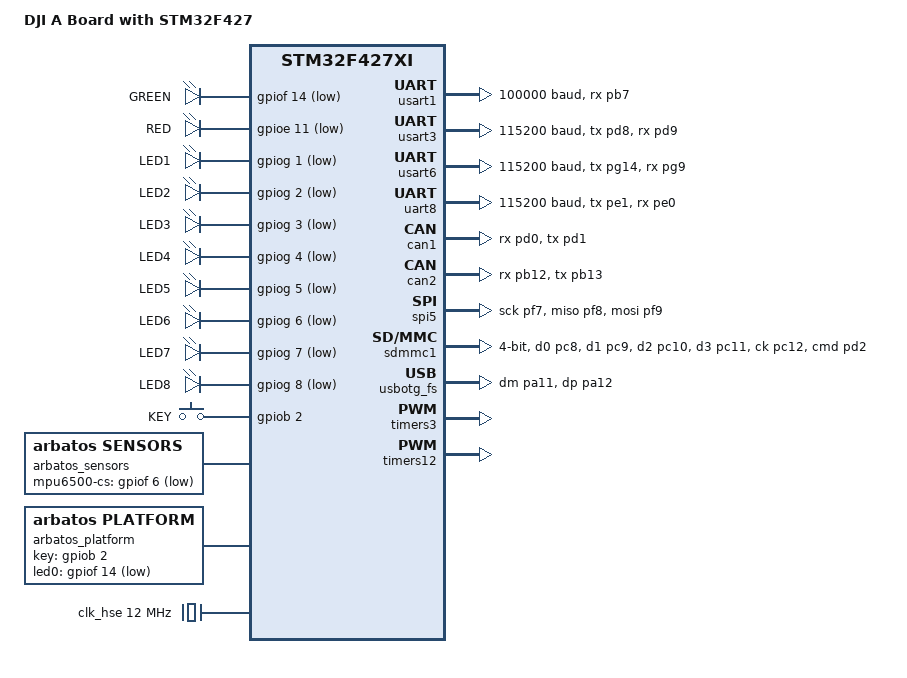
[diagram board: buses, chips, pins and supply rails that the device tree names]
/* SPDX-License-Identifier: Apache-2.0 */

/dts-v1/;
#include <st/f4/stm32f427Xi.dtsi>
#include "dji_a_f427-pinctrl.dtsi"
#include <zephyr/dt-bindings/input/input-event-codes.h>
#include <zephyr/dt-bindings/pwm/pwm.h>

/ {
	model = "DJI A Board with STM32F427";
	compatible = "arbatos,dji-a-f427";

	chosen {
		/* DBUS 只有 PB7 接收线；控制台由具体应用选择。 */
		zephyr,sram = &sram0;
		zephyr,flash = &flash0;
		zephyr,dtcm = &ccm0;
		zephyr,canbus = &can1;
	};

	aliases {
		sw0 = &user_key;
		led0 = &led_green;
		led1 = &led_red;
		can-primary = &can1;
		can-secondary = &can2;
		uart-rc = &usart1;
		uart-aux = &uart8;
		uart-referee = &usart6;
		sd-disk = &sdmmc1;
	};

	leds {
		compatible = "gpio-leds";
		led_green: green { gpios = <&gpiof 14 GPIO_ACTIVE_LOW>; label = "GREEN"; };
		led_red: red { gpios = <&gpioe 11 GPIO_ACTIVE_LOW>; label = "RED"; };
		led_1: led-1 { gpios = <&gpiog 1 GPIO_ACTIVE_LOW>; label = "LED1"; };
		led_2: led-2 { gpios = <&gpiog 2 GPIO_ACTIVE_LOW>; label = "LED2"; };
		led_3: led-3 { gpios = <&gpiog 3 GPIO_ACTIVE_LOW>; label = "LED3"; };
		led_4: led-4 { gpios = <&gpiog 4 GPIO_ACTIVE_LOW>; label = "LED4"; };
		led_5: led-5 { gpios = <&gpiog 5 GPIO_ACTIVE_LOW>; label = "LED5"; };
		led_6: led-6 { gpios = <&gpiog 6 GPIO_ACTIVE_LOW>; label = "LED6"; };
		led_7: led-7 { gpios = <&gpiog 7 GPIO_ACTIVE_LOW>; label = "LED7"; };
		led_8: led-8 { gpios = <&gpiog 8 GPIO_ACTIVE_LOW>; label = "LED8"; };
	};

	keys {
		compatible = "gpio-keys";
		user_key: key_0 {
			label = "KEY";
			gpios = <&gpiob 2 (GPIO_ACTIVE_HIGH | GPIO_PULL_DOWN)>;
			zephyr,code = <INPUT_KEY_0>;
		};
	};

	arbatos_sensors {
		compatible = "arbatos,sensors";
		mpu6500-spi = <&spi5>;
		mpu6500-cs-gpios = <&gpiof 6 GPIO_ACTIVE_LOW>;
		mpu6500-spi-hz = <8000000>;
		imu-heater-pwms = <&pwm3 2 PWM_USEC(1000) PWM_POLARITY_NORMAL>;
		imu-heater-period-cycles = <50>;
	};

	arbatos_platform: arbatos-platform {
		compatible = "arbatos,platform";
		key-gpios = <&gpiob 2 (GPIO_ACTIVE_HIGH | GPIO_PULL_DOWN)>;
		led0-gpios = <&gpiof 14 GPIO_ACTIVE_LOW>;
		buzzer-pwms = <&pwm12 1 PWM_USEC(100) PWM_POLARITY_NORMAL>;
	};
};

&clk_lsi { status = "okay"; };
/* PDF 第 2 页 PC14/PC15 悬空，板上只有 12 MHz 主晶振。 */
&clk_lse { status = "disabled"; };
&clk_hse { clock-frequency = <DT_FREQ_M(12)>; status = "okay"; };
&pll { div-m = <12>; mul-n = <336>; div-p = <2>; div-q = <7>; clocks = <&clk_hse>; status = "okay"; };
&rcc { clocks = <&pll>; clock-frequency = <DT_FREQ_M(168)>; ahb-prescaler = <1>; apb1-prescaler = <4>; apb2-prescaler = <2>; };

&usart1 { pinctrl-0 = <&usart1_rx_pb7>; pinctrl-names = "default"; current-speed = <100000>; parity = "even"; stop-bits = "1"; status = "okay"; };
&usart2 { pinctrl-0 = <&usart2_tx_pd5 &usart2_rx_pd6>; pinctrl-names = "default"; current-speed = <115200>; status = "disabled"; };
&usart3 { pinctrl-0 = <&usart3_tx_pd8 &usart3_rx_pd9>; pinctrl-names = "default"; current-speed = <115200>; status = "okay"; };
&usart6 { pinctrl-0 = <&usart6_tx_pg14 &usart6_rx_pg9>; pinctrl-names = "default"; current-speed = <115200>; status = "okay"; };
&uart8 { pinctrl-0 = <&uart8_tx_pe1 &uart8_rx_pe0>; pinctrl-names = "default"; current-speed = <115200>; status = "okay"; };
&uart7 { pinctrl-0 = <&uart7_tx_pe8 &uart7_rx_pe7>; pinctrl-names = "default"; current-speed = <115200>; status = "disabled"; };
&can1 { pinctrl-0 = <&can1_rx_pd0 &can1_tx_pd1>; pinctrl-names = "default"; status = "okay"; };
&can2 { pinctrl-0 = <&can2_rx_pb12 &can2_tx_pb13>; pinctrl-names = "default"; status = "okay"; };
&spi5 { pinctrl-0 = <&spi5_sck_pf7 &spi5_miso_pf8 &spi5_mosi_pf9>; pinctrl-names = "default"; status = "okay"; };
&sdmmc1 { pinctrl-0 = <&sdmmc1_d0_pc8 &sdmmc1_d1_pc9 &sdmmc1_d2_pc10 &sdmmc1_d3_pc11 &sdmmc1_ck_pc12 &sdmmc1_cmd_pd2>; pinctrl-names = "default"; bus-width = <4>; cd-gpios = <&gpioe 15 (GPIO_ACTIVE_LOW | GPIO_PULL_UP)>; disk-name = "SD"; status = "okay"; };
zephyr_udc0: &usbotg_fs {
	pinctrl-0 = <&usb_otg_fs_dm_pa11 &usb_otg_fs_dp_pa12>;
	pinctrl-names = "default";
	status = "okay";

	cdc_acm_uart0: cdc_acm_uart0 {
		compatible = "zephyr,cdc-acm-uart";
	};
};

&timers3 {
	status = "okay";
	pwm3: pwm { status = "okay"; pinctrl-0 = <&tim3_ch2_pb5>; pinctrl-names = "default"; };
};

&timers12 {
	status = "okay";
	pwm12: pwm { status = "okay"; pinctrl-0 = <&tim12_ch1_ph6>; pinctrl-names = "default"; };
};
